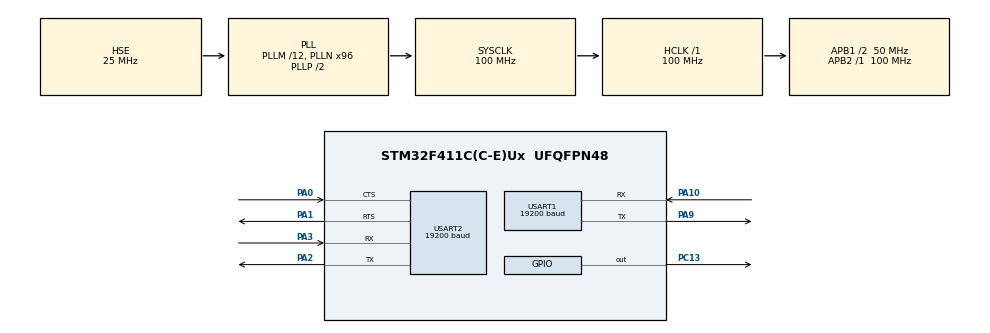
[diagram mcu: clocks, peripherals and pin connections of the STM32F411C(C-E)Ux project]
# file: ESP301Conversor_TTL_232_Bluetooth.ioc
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Mcu.Family=STM32F4
Mcu.Name=STM32F411C(C-E)Ux
Mcu.Package=UFQFPN48
NVIC.PriorityGroup=NVIC_PRIORITYGROUP_4
NVIC.USART1_IRQn=true\:0\:0\:false\:false\:true\:true\:true\:true
NVIC.USART2_IRQn=true\:0\:0\:false\:false\:true\:true\:true\:true
PA0-WKUP.Mode=CTS_RTS
PA0-WKUP.Signal=USART2_CTS
PA1.GPIO_PuPd=GPIO_PULLUP
PA1.Mode=CTS_RTS
PA1.Signal=USART2_RTS
PA10.Mode=Asynchronous
PA10.Signal=USART1_RX
PA13.Mode=Serial_Wire
PA13.Signal=SYS_JTMS-SWDIO
PA14.Mode=Serial_Wire
PA14.Signal=SYS_JTCK-SWCLK
PA2.GPIO_PuPd=GPIO_PULLUP
PA2.Mode=Asynchronous
PA2.Signal=USART2_TX
PA3.GPIO_PuPd=GPIO_PULLUP
PA3.Mode=Asynchronous
PA3.Signal=USART2_RX
PA9.Mode=Asynchronous
PA9.Signal=USART1_TX
PC13-ANTI_TAMP.Signal=GPIO_Output
PH0\ -\ OSC_IN.Mode=HSE-External-Oscillator
PH0\ -\ OSC_IN.Signal=RCC_OSC_IN
PH1\ -\ OSC_OUT.Mode=HSE-External-Oscillator
PH1\ -\ OSC_OUT.Signal=RCC_OSC_OUT
ProjectManager.HeapSize=0x200
ProjectManager.StackSize=0x400
ProjectManager.TargetToolchain=STM32CubeIDE
RCC.48MHZClocksFreq_Value=50000000
RCC.AHBFreq_Value=100000000
RCC.APB1CLKDivider=RCC_HCLK_DIV2
RCC.APB1Freq_Value=50000000
RCC.APB1TimFreq_Value=100000000
RCC.APB2Freq_Value=100000000
RCC.APB2TimFreq_Value=100000000
RCC.CortexFreq_Value=100000000
RCC.HCLKFreq_Value=100000000
RCC.HSE_VALUE=25000000
RCC.HSI_VALUE=16000000
RCC.LSE_VALUE=32768
RCC.PLLM=12
RCC.PLLN=96
RCC.PLLSourceVirtual=RCC_PLLSOURCE_HSE
RCC.SYSCLKFreq_VALUE=100000000
RCC.SYSCLKSource=RCC_SYSCLKSOURCE_PLLCLK
RCC.VCOOutputFreq_Value=200000000
USART1.BaudRate=19200
USART1.VirtualMode=VM_ASYNC
USART2.BaudRate=19200
USART2.VirtualMode=VM_ASYNC
board=custom

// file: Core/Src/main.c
/* USER CODE BEGIN Header */
/**
  ******************************************************************************
  * @file           : main.c
  * @brief          : Main program body
  ******************************************************************************
  * @attention
  *
  * Copyright (c) 2025 STMicroelectronics.
  * All rights reserved.
  *
  * This software is licensed under terms that can be found in the LICENSE file
  * in the root directory of this software component.
  * If no LICENSE file comes with this software, it is provided AS-IS.
  *
  ******************************************************************************
  */
/* USER CODE END Header */
#include "main.h"

/* USER CODE BEGIN PD */
#define BUFFER_SIZE 256
#define TX_TIMEOUT 100 // Timeout de transmissão em ms
/* USER CODE END PD */

UART_HandleTypeDef huart1;
UART_HandleTypeDef huart2;

/* USER CODE BEGIN PV */
// Buffers para recepção com tamanho ajustado
uint8_t usart1_rx_buffer[BUFFER_SIZE];
uint8_t usart2_rx_buffer[BUFFER_SIZE];

// Variáveis para controle de ring buffer
uint16_t usart1_head = 0, usart1_tail = 0;
uint16_t usart2_head = 0, usart2_tail = 0;
volatile uint8_t error_flag = 0; // Indicador de erro
/* USER CODE END PV */

void SystemClock_Config(void);
static void MX_GPIO_Init(void);
static void MX_USART1_UART_Init(void);
static void MX_USART2_UART_Init(void);
/* USER CODE BEGIN PFP */
static void Process_USART1_Data(void);
static void Process_USART2_Data(void);
/* USER CODE END PFP */

int main(void)
{

  /* MCU Configuration--------------------------------------------------------*/

  /* Reset of all peripherals, Initializes the Flash interface and the Systick. */
  HAL_Init();

  /* Configure the system clock */
  SystemClock_Config();

  /* Initialize all configured peripherals */
  MX_GPIO_Init();
  MX_USART1_UART_Init();
  MX_USART2_UART_Init();
  /* USER CODE BEGIN 2 */

  HAL_GPIO_WritePin(GPIOC, GPIO_PIN_13, GPIO_PIN_RESET);

  // Piscar LED para indicar inicialização
  for (int i = 0; i < 6; i++) {
    HAL_GPIO_TogglePin(GPIOC, GPIO_PIN_13);
    HAL_Delay(250);
  }

  // Inicia recepção com interrupção em ambas as UARTs
  HAL_UART_Receive_IT(&huart1, &usart1_rx_buffer[usart1_head], 1);
  HAL_UART_Receive_IT(&huart2, &usart2_rx_buffer[usart2_head], 1);

  /* USER CODE END 2 */

  /* Infinite loop */
  while (1)
  {

    /* USER CODE BEGIN 3 */
    // Processa dados recebidos
    Process_USART1_Data();
    Process_USART2_Data();

    // Pisca LED lentamente se houver erro
    if (error_flag) {
      HAL_GPIO_TogglePin(GPIOC, GPIO_PIN_13);
      HAL_Delay(500);
    }
  }
  /* USER CODE END 3 */
}

void SystemClock_Config(void)
{
  RCC_OscInitTypeDef RCC_OscInitStruct = {0};
  RCC_ClkInitTypeDef RCC_ClkInitStruct = {0};

  /** Configure the main internal regulator output voltage
  */
  __HAL_RCC_PWR_CLK_ENABLE();
  __HAL_PWR_VOLTAGESCALING_CONFIG(PWR_REGULATOR_VOLTAGE_SCALE1);

  /** Initializes the RCC Oscillators according to the specified parameters
  * in the RCC_OscInitTypeDef structure.
  */
  RCC_OscInitStruct.OscillatorType = RCC_OSCILLATORTYPE_HSE;
  RCC_OscInitStruct.HSEState = RCC_HSE_ON;
  RCC_OscInitStruct.PLL.PLLState = RCC_PLL_ON;
  RCC_OscInitStruct.PLL.PLLSource = RCC_PLLSOURCE_HSE;
  RCC_OscInitStruct.PLL.PLLM = 12;
  RCC_OscInitStruct.PLL.PLLN = 96;
  RCC_OscInitStruct.PLL.PLLP = RCC_PLLP_DIV2;
  RCC_OscInitStruct.PLL.PLLQ = 4;
  if (HAL_RCC_OscConfig(&RCC_OscInitStruct) != HAL_OK)
  {
    Error_Handler();
  }

  /** Initializes the CPU, AHB and APB buses clocks
  */
  RCC_ClkInitStruct.ClockType = RCC_CLOCKTYPE_HCLK|RCC_CLOCKTYPE_SYSCLK
                              |RCC_CLOCKTYPE_PCLK1|RCC_CLOCKTYPE_PCLK2;
  RCC_ClkInitStruct.SYSCLKSource = RCC_SYSCLKSOURCE_PLLCLK;
  RCC_ClkInitStruct.AHBCLKDivider = RCC_SYSCLK_DIV1;
  RCC_ClkInitStruct.APB1CLKDivider = RCC_HCLK_DIV2;
  RCC_ClkInitStruct.APB2CLKDivider = RCC_HCLK_DIV1;

  if (HAL_RCC_ClockConfig(&RCC_ClkInitStruct, FLASH_LATENCY_3) != HAL_OK)
  {
    Error_Handler();
  }
}

static void MX_USART1_UART_Init(void)
{

  huart1.Instance = USART1;
  huart1.Init.BaudRate = 19200;
  huart1.Init.WordLength = UART_WORDLENGTH_8B;
  huart1.Init.StopBits = UART_STOPBITS_1;
  huart1.Init.Parity = UART_PARITY_NONE;
  huart1.Init.Mode = UART_MODE_TX_RX;
  huart1.Init.HwFlowCtl = UART_HWCONTROL_NONE;
  huart1.Init.OverSampling = UART_OVERSAMPLING_16;
  if (HAL_UART_Init(&huart1) != HAL_OK)
  {
    Error_Handler();
  }

}

static void MX_USART2_UART_Init(void)
{

  huart2.Instance = USART2;
  huart2.Init.BaudRate = 19200;
  huart2.Init.WordLength = UART_WORDLENGTH_8B;
  huart2.Init.StopBits = UART_STOPBITS_1;
  huart2.Init.Parity = UART_PARITY_NONE;
  huart2.Init.Mode = UART_MODE_TX_RX;
  huart2.Init.HwFlowCtl = UART_HWCONTROL_RTS_CTS;
  huart2.Init.OverSampling = UART_OVERSAMPLING_16;
  if (HAL_UART_Init(&huart2) != HAL_OK)
  {
    Error_Handler();
  }

}

static void MX_GPIO_Init(void)
{
  GPIO_InitTypeDef GPIO_InitStruct = {0};

  /* GPIO Ports Clock Enable */
  __HAL_RCC_GPIOC_CLK_ENABLE();
  __HAL_RCC_GPIOH_CLK_ENABLE();
  __HAL_RCC_GPIOA_CLK_ENABLE();

  /*Configure GPIO pin Output Level */
  HAL_GPIO_WritePin(GPIOC, GPIO_PIN_13, GPIO_PIN_RESET);

  /*Configure GPIO pin : PC13 */
  GPIO_InitStruct.Pin = GPIO_PIN_13;
  GPIO_InitStruct.Mode = GPIO_MODE_OUTPUT_PP;
  GPIO_InitStruct.Pull = GPIO_NOPULL;
  GPIO_InitStruct.Speed = GPIO_SPEED_FREQ_LOW;
  HAL_GPIO_Init(GPIOC, &GPIO_InitStruct);

}

/* USER CODE BEGIN 4 */

/**
  * @brief  Callback chamado quando um dado é recebido por interrupção
  * @param  huart: Ponteiro para a estrutura UART
  * @retval None
  */
void HAL_UART_RxCpltCallback(UART_HandleTypeDef *huart)
{
  if (huart->Instance == USART1) {
    // Incrementa head do ring buffer USART1
    usart1_head = (usart1_head + 1) % BUFFER_SIZE;
    // Reinicia recepção para o próximo byte
    HAL_UART_Receive_IT(&huart1, &usart1_rx_buffer[usart1_head], 1);
  }
  else if (huart->Instance == USART2) {
    // Incrementa head do ring buffer USART2
    usart2_head = (usart2_head + 1) % BUFFER_SIZE;
    // Reinicia recepção para o próximo byte
    HAL_UART_Receive_IT(&huart2, &usart2_rx_buffer[usart2_head], 1);
  }
}

/**
  * @brief  Callback chamado em caso de erro na UART
  * @param  huart: Ponteiro para a estrutura UART
  * @retval None
  */
void HAL_UART_ErrorCallback(UART_HandleTypeDef *huart)
{
  if (huart->Instance == USART1 || huart->Instance == USART2) {
    // Limpa flags de erro
    __HAL_UART_CLEAR_FLAG(huart, UART_FLAG_ORE | UART_FLAG_PE | UART_FLAG_FE);
    // Reinicia recepção
    HAL_UART_Receive_IT(huart, huart->Instance == USART1 ? &usart1_rx_buffer[usart1_head] : &usart2_rx_buffer[usart2_head], 1);
    error_flag = 1; // Sinaliza erro para o loop principal
  }
}

/**
  * @brief  Processa e transmite dados recebidos pela USART1
  * @param  None
  * @retval None
  */
static void Process_USART1_Data(void)
{
  while (usart1_tail != usart1_head) {
    if (HAL_UART_Transmit(&huart2, &usart1_rx_buffer[usart1_tail], 1, TX_TIMEOUT) != HAL_OK) {
      error_flag = 1; // Sinaliza erro de transmissão
      break;
    }
    usart1_tail = (usart1_tail + 1) % BUFFER_SIZE;
  }
}

/**
  * @brief  Processa e transmite dados recebidos pela USART2
  * @param  None
  * @retval None
  */
static void Process_USART2_Data(void)
{
  while (usart2_tail != usart2_head) {
    if (HAL_UART_Transmit(&huart1, &usart2_rx_buffer[usart2_tail], 1, TX_TIMEOUT) != HAL_OK) {
      error_flag = 1; // Sinaliza erro de transmissão
      break;
    }
    usart2_tail = (usart2_tail + 1) % BUFFER_SIZE;
  }
}

/* USER CODE END 4 */

void Error_Handler(void)
{
  __disable_irq();
  while (1)
  {
  }
}
